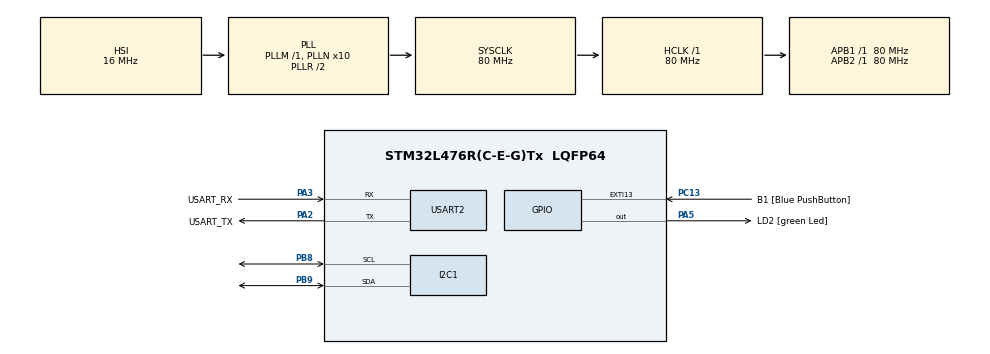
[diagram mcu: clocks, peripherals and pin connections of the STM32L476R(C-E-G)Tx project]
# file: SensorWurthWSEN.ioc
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I2C1.Timing=0x10D19CE4
Mcu.Family=STM32L4
Mcu.Name=STM32L476R(C-E-G)Tx
Mcu.Package=LQFP64
NVIC.I2C1_ER_IRQn=true\:0\:0\:false\:false\:true\:true\:true\:true
NVIC.I2C1_EV_IRQn=true\:0\:0\:false\:false\:true\:true\:true\:true
NVIC.PriorityGroup=NVIC_PRIORITYGROUP_4
PA13\ (JTMS-SWDIO).GPIO_Label=TMS
PA13\ (JTMS-SWDIO).Mode=Serial_Wire
PA13\ (JTMS-SWDIO).Signal=SYS_JTMS-SWDIO
PA14\ (JTCK-SWCLK).GPIO_Label=TCK
PA14\ (JTCK-SWCLK).Mode=Serial_Wire
PA14\ (JTCK-SWCLK).Signal=SYS_JTCK-SWCLK
PA2.GPIO_Label=USART_TX
PA2.GPIO_Mode=GPIO_MODE_AF_PP
PA2.GPIO_PuPd=GPIO_NOPULL
PA2.GPIO_Speed=GPIO_SPEED_FREQ_VERY_HIGH
PA2.Mode=Asynchronous
PA2.Signal=USART2_TX
PA3.GPIO_Label=USART_RX
PA3.GPIO_Mode=GPIO_MODE_AF_PP
PA3.GPIO_PuPd=GPIO_NOPULL
PA3.GPIO_Speed=GPIO_SPEED_FREQ_VERY_HIGH
PA3.Mode=Asynchronous
PA3.Signal=USART2_RX
PA5.GPIO_Label=LD2 [green Led]
PA5.GPIO_ModeDefaultOutputPP=GPIO_MODE_OUTPUT_PP
PA5.GPIO_PuPd=GPIO_NOPULL
PA5.GPIO_Speed=GPIO_SPEED_FREQ_LOW
PA5.Signal=GPIO_Output
PB3\ (JTDO-TRACESWO).GPIO_Label=SWO
PB3\ (JTDO-TRACESWO).Signal=SYS_JTDO-SWO
PB8.GPIO_Pu=GPIO_PULLUP
PB8.Mode=I2C
PB8.Signal=I2C1_SCL
PB9.GPIO_Pu=GPIO_PULLUP
PB9.Mode=I2C
PB9.Signal=I2C1_SDA
PC13.GPIO_Label=B1 [Blue PushButton]
PC13.GPIO_ModeDefaultEXTI=GPIO_MODE_IT_FALLING
PC13.GPIO_PuPd=GPIO_NOPULL
PC13.Signal=GPXTI13
PC14-OSC32_IN\ (PC14).Mode=LSE-External-Oscillator
PC14-OSC32_IN\ (PC14).Signal=RCC_OSC32_IN
PC15-OSC32_OUT\ (PC15).Mode=LSE-External-Oscillator
PC15-OSC32_OUT\ (PC15).Signal=RCC_OSC32_OUT
PH0-OSC_IN\ (PH0).Signal=RCC_OSC_IN
PH1-OSC_OUT\ (PH1).Signal=RCC_OSC_OUT
ProjectManager.HeapSize=0x200
ProjectManager.StackSize=0x400
ProjectManager.TargetToolchain=STM32CubeIDE
RCC.ADCFreq_Value=64000000
RCC.AHBFreq_Value=80000000
RCC.APB1Freq_Value=80000000
RCC.APB1TimFreq_Value=80000000
RCC.APB2Freq_Value=80000000
RCC.APB2TimFreq_Value=80000000
RCC.CortexFreq_Value=80000000
RCC.HCLKFreq_Value=80000000
RCC.HSE_VALUE=8000000
RCC.HSI_VALUE=16000000
RCC.MSI_VALUE=4000000
RCC.PLLN=10
RCC.PLLSourceVirtual=RCC_PLLSOURCE_HSI
RCC.PREFETCH_ENABLE=1
RCC.SYSCLKFreq_VALUE=80000000
RCC.SYSCLKSource=RCC_SYSCLKSOURCE_PLLCLK
RCC.USBFreq_Value=64000000
RCC.VCOOutputFreq_Value=160000000
USART2.VirtualMode-Asynchronous=VM_ASYNC
board=NUCLEO-L476RG

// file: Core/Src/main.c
/* USER CODE BEGIN Header */
/**
  ******************************************************************************
  * @file           : main.c
  * @brief          : Main program body
  ******************************************************************************
  * @attention
  *
  * Copyright (c) 2024 STMicroelectronics.
  * All rights reserved.
  *
  * This software is licensed under terms that can be found in the LICENSE file
  * in the root directory of this software component.
  * If no LICENSE file comes with this software, it is provided AS-IS.
  *
  ******************************************************************************
  */
/* USER CODE END Header */
#include "main.h"
#include "i2c.h"
#include "usart.h"
#include "gpio.h"
#include "6axis.h"
/* USER CODE BEGIN Includes */

#include <stdio.h>
#include <stdint.h>

/* USER CODE END Includes */

void SystemClock_Config(void);
/* USER CODE BEGIN PFP */
//void check_device_communication();
//void Init_HighPerf_Mode_6_axis(void);
//HAL_StatusTypeDef Read_sensor_data();
//void Display_6_axis_data(void);
extern I2C_HandleTypeDef hi2c1;
extern UART_HandleTypeDef huart2;
/* USER CODE END PFP */

/* USER CODE BEGIN 0 */
#ifdef __GNUC__
#define PUTCHAR_PROTOTYPE int __io_putchar(int ch)
#define GETCHAR_PROTOTYPE int __io_getchar(void)
#else
#define PUTCHAR_PROTOTYPE int fputc(int ch, FILE *f)
#define GETCHAR_PROTOTYPE int fgetc(FILE *f)
#endif

PUTCHAR_PROTOTYPE
{
  HAL_UART_Transmit(&huart2, (uint8_t *)&ch, 1, HAL_MAX_DELAY);
  return ch;
}

GETCHAR_PROTOTYPE
{
  uint8_t ch = 0;

  /* Clear the Overrun flag just before receiving the first character */
  __HAL_UART_CLEAR_OREFLAG(&huart2);

  /* Wait for reception of a character on the USART RX line and echo this
   * character on console */
  HAL_UART_Receive(&huart2, (uint8_t *)&ch, 1, HAL_MAX_DELAY);
  HAL_UART_Transmit(&huart2, (uint8_t *)&ch, 1, HAL_MAX_DELAY);
  return ch;
}

//#define SENSOR_ADDRESS  0x6B << 1
//
//void check_device_communication() {
//    uint8_t deviceID = 0;
//    HAL_StatusTypeDef status;
//
//    status = HAL_I2C_Mem_Read(&hi2c1, (uint8_t)(SENSOR_ADDRESS), 0x0F, I2C_MEMADD_SIZE_8BIT, &deviceID, 1, HAL_MAX_DELAY);
//
//    if (status == HAL_OK) {
//        printf("Communication réussie.\r\n");
//    } else {
//        printf("Échec de la communication.\r\n");
//    }
//}
//
//#define CTRL1_XL 0x10
//#define CTRL2_G  0x11
//#define CTRL3_C  0x12
//#define CTRL6_C  0x15
//#define CTRL7_G  0x16
//#define CTRL8_XL 0x17
//#define STATUS_REG 0x1E

// Fonction d'initialisation du capteur en mode haute performance
//void Init_HighPerf_Mode_6_axis(void)
//{
//    uint8_t data = 0;
//
//    // Activer le mode haute performance pour l'accéléromètre et le gyroscope
//    data = 0x54; // 208 Hz, ±16g pour l'accéléromètre
//    HAL_I2C_Mem_Write(&hi2c1, SENSOR_ADDRESS, CTRL1_XL, I2C_MEMADD_SIZE_8BIT, &data, 1, HAL_MAX_DELAY);
//
//    data = 0x4C; // 208 Hz, ±2000 dps pour le gyroscope
//    HAL_I2C_Mem_Write(&hi2c1, SENSOR_ADDRESS, CTRL2_G, I2C_MEMADD_SIZE_8BIT, &data, 1, HAL_MAX_DELAY);
//
//    // Activer l'incrémentation automatique des adresses et l'update des données
//    data = 0x00; // Incrémentation automatique activée, BDU activé
//    HAL_I2C_Mem_Write(&hi2c1, SENSOR_ADDRESS, CTRL3_C, I2C_MEMADD_SIZE_8BIT, &data, 1, HAL_MAX_DELAY);
//
//    // Configurer la bande passante et autres options
//    data = 0x00; // Paramètre par défaut pour CTRL6_C
//    HAL_I2C_Mem_Write(&hi2c1, SENSOR_ADDRESS, CTRL6_C, I2C_MEMADD_SIZE_8BIT, &data, 1, HAL_MAX_DELAY);
//
//    // Configuration supplémentaire du gyroscope
//    data = 0x00; // Paramètre par défaut pour CTRL7_G
//    HAL_I2C_Mem_Write(&hi2c1, SENSOR_ADDRESS, CTRL7_G, I2C_MEMADD_SIZE_8BIT, &data, 1, HAL_MAX_DELAY);
//
//    // Configuration supplémentaire pour l'accéléromètre
//    data = 0x00; // Paramètre par défaut pour CTRL8_XL
//    HAL_I2C_Mem_Write(&hi2c1, SENSOR_ADDRESS, CTRL8_XL, I2C_MEMADD_SIZE_8BIT, &data, 1, HAL_MAX_DELAY);
//
//    uint8_t status = 0;
//
//        // Lire le registre de statut via STATUS_REG pour voir si les données sont prêtes (XLDA et GDA)
//        HAL_I2C_Mem_Read(&hi2c1, SENSOR_ADDRESS, STATUS_REG, I2C_MEMADD_SIZE_8BIT, &status, 1, HAL_MAX_DELAY);
//
//        if (status & 0x01) {
//            printf("Les données de l'accéléromètre sont prêtes. q\r\n");
//        }
//        if (status & 0x02) {
//            printf("Les données du gyroscope sont prêtes.\r\n");
//        }
//
//}
//
//#define G_X_OUT_L 0x22             // Adresse du premier registre de sortie gyroscope (G_)
//#define XL_X_OUT_L 0x28            // Adresse du premier registre de sortie accéléromètre (XL_)
//
//
//// Sensibilités pour accéléromètre et gyroscope
//#define ACC_SENSITIVITY_16G 0.488 // Sensibilité pour ±16g
//#define GYRO_SENSITIVITY_2000DPS 70 // Sensibilité pour ±2000 dps
//
//HAL_StatusTypeDef Read_sensor_data(int16_t* accel_data, int16_t* gyro_data) {
//    HAL_StatusTypeDef status;
//    uint8_t status_reg;
//    uint8_t low_byte, high_byte;
//
//    // Étape 1 : Lire STATUS_REG pour vérifier XLDA et GDA
//    status = HAL_I2C_Mem_Read(&hi2c1, SENSOR_ADDRESS, STATUS_REG, I2C_MEMADD_SIZE_8BIT, &status_reg, 1, HAL_MAX_DELAY);
//    if (status != HAL_OK) return status;
//
//    // Vérifier si les bits XLDA (bit 0) et GDA (bit 1) sont à 1
//    if (!(status_reg & 0x01) || !(status_reg & 0x02)) {
//        // Pas de nouvelles données prêtes
//        return HAL_ERROR;
//    }
//	// Lire les données du gyroscope
//	for (int i = 0; i < 3; i++) {
//		// Adresses des registres pour chaque axe
//		uint8_t low_addr = G_X_OUT_L + i * 2;
//		uint8_t high_addr = low_addr + 1;
//
//		// Lire l'octet bas
//		status = HAL_I2C_Mem_Read(&hi2c1, SENSOR_ADDRESS, low_addr, I2C_MEMADD_SIZE_8BIT, &low_byte, 1, HAL_MAX_DELAY);
//		if (status != HAL_OK) return status;
//
//		// Lire l'octet haut
//		status = HAL_I2C_Mem_Read(&hi2c1, SENSOR_ADDRESS, high_addr, I2C_MEMADD_SIZE_8BIT, &high_byte, 1, HAL_MAX_DELAY);
//		if (status != HAL_OK) return status;
//
//		// Combiner les octets pour obtenir la valeur 16 bits
//		gyro_data[i] = (int16_t)((high_byte << 8) | low_byte);
//	}
//	// Lire les données de l'accéléromètre
//	for (int i = 0; i < 3; i++) {
//		// Adresses des registres pour chaque axe
//		uint8_t low_addr = XL_X_OUT_L + i * 2;
//		uint8_t high_addr = low_addr + 1;
//
//		// Lire l'octet bas
//		status = HAL_I2C_Mem_Read(&hi2c1, SENSOR_ADDRESS, low_addr, I2C_MEMADD_SIZE_8BIT, &low_byte, 1, HAL_MAX_DELAY);
//		if (status != HAL_OK) return status;
//
//		// Lire l'octet haut
//		status = HAL_I2C_Mem_Read(&hi2c1, SENSOR_ADDRESS, high_addr, I2C_MEMADD_SIZE_8BIT, &high_byte, 1, HAL_MAX_DELAY);
//		if (status != HAL_OK) return status;
//
//		// Combiner les octets pour obtenir la valeur 16 bits
//		accel_data[i] = (int16_t)((high_byte << 8) | low_byte);
//	}
//
//	return HAL_OK;
//}
//
//void Display_6_axis_data(void) {
//    int16_t accel_data[3], gyro_data[3]; // Tableau pour stocker les données d'accéléromètre et de gyroscope
//    HAL_StatusTypeDef status;
//
//    // Lire les données du capteur
//    status = Read_sensor_data(accel_data, gyro_data);
//
//    if (status == HAL_OK) {
//        // Afficher les valeurs dans le format demandé
//        printf("XL/(X,Y,Z) : %d ; %d ; %d\r\n", accel_data[0], accel_data[1], accel_data[2]);
//        printf("G/(X,Y,Z) : %d ; %d ; %d\r\n", gyro_data[0], gyro_data[1], gyro_data[2]);
//    } else {
//        printf("Erreur de lecture du capteur --> ");
//        check_device_communication();
//    }
//}

/* USER CODE END 0 */

int main(void)
{

  /* MCU Configuration--------------------------------------------------------*/

  /* Reset of all peripherals, Initializes the Flash interface and the Systick. */
  HAL_Init();

  /* Configure the system clock */
  SystemClock_Config();

  /* USER CODE BEGIN SysInit */
  check_device_communication();
  Init_HighPerf_Mode_6_axis();
  /* USER CODE END SysInit */

  /* Initialize all configured peripherals */
  MX_GPIO_Init();
  MX_USART2_UART_Init();
  MX_I2C1_Init();
  /* USER CODE BEGIN 2 */
  // Vérifier la communication avec le capteur
  /* USER CODE END 2 */

  /* Infinite loop */
  while (1)
  {

    /* USER CODE BEGIN 3 */
	  //check_device_communication();
	  //Init_HighPerf_Mode_6_axis();
	  Display_6_axis_data();

  }
  /* USER CODE END 3 */
}

void SystemClock_Config(void)
{
  RCC_OscInitTypeDef RCC_OscInitStruct = {0};
  RCC_ClkInitTypeDef RCC_ClkInitStruct = {0};

  /** Configure the main internal regulator output voltage
  */
  if (HAL_PWREx_ControlVoltageScaling(PWR_REGULATOR_VOLTAGE_SCALE1) != HAL_OK)
  {
    Error_Handler();
  }

  /** Initializes the RCC Oscillators according to the specified parameters
  * in the RCC_OscInitTypeDef structure.
  */
  RCC_OscInitStruct.OscillatorType = RCC_OSCILLATORTYPE_HSI;
  RCC_OscInitStruct.HSIState = RCC_HSI_ON;
  RCC_OscInitStruct.HSICalibrationValue = RCC_HSICALIBRATION_DEFAULT;
  RCC_OscInitStruct.PLL.PLLState = RCC_PLL_ON;
  RCC_OscInitStruct.PLL.PLLSource = RCC_PLLSOURCE_HSI;
  RCC_OscInitStruct.PLL.PLLM = 1;
  RCC_OscInitStruct.PLL.PLLN = 10;
  RCC_OscInitStruct.PLL.PLLP = RCC_PLLP_DIV7;
  RCC_OscInitStruct.PLL.PLLQ = RCC_PLLQ_DIV2;
  RCC_OscInitStruct.PLL.PLLR = RCC_PLLR_DIV2;
  if (HAL_RCC_OscConfig(&RCC_OscInitStruct) != HAL_OK)
  {
    Error_Handler();
  }

  /** Initializes the CPU, AHB and APB buses clocks
  */
  RCC_ClkInitStruct.ClockType = RCC_CLOCKTYPE_HCLK|RCC_CLOCKTYPE_SYSCLK
                              |RCC_CLOCKTYPE_PCLK1|RCC_CLOCKTYPE_PCLK2;
  RCC_ClkInitStruct.SYSCLKSource = RCC_SYSCLKSOURCE_PLLCLK;
  RCC_ClkInitStruct.AHBCLKDivider = RCC_SYSCLK_DIV1;
  RCC_ClkInitStruct.APB1CLKDivider = RCC_HCLK_DIV1;
  RCC_ClkInitStruct.APB2CLKDivider = RCC_HCLK_DIV1;

  if (HAL_RCC_ClockConfig(&RCC_ClkInitStruct, FLASH_LATENCY_4) != HAL_OK)
  {
    Error_Handler();
  }
}

void Error_Handler(void)
{
  __disable_irq();
  while (1)
  {
  }
}
